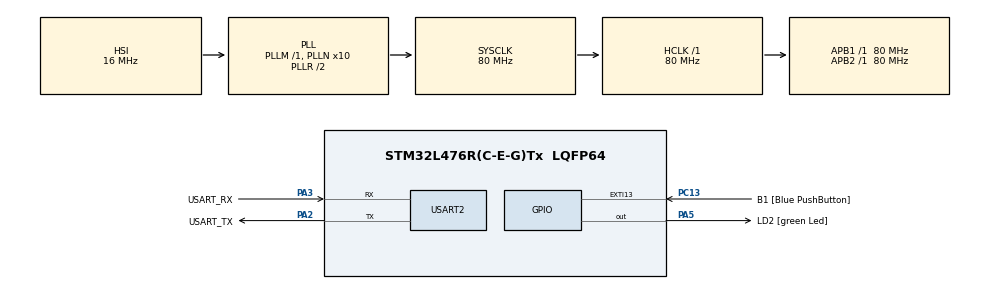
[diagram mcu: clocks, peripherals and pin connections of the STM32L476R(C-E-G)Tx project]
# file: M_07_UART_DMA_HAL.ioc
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Dma.Request0=USART2_TX
Dma.USART2_TX.0.Direction=DMA_MEMORY_TO_PERIPH
Dma.USART2_TX.0.Instance=DMA1_Channel7
Dma.USART2_TX.0.MemDataAlignment=DMA_MDATAALIGN_BYTE
Dma.USART2_TX.0.MemInc=DMA_MINC_ENABLE
Dma.USART2_TX.0.Mode=DMA_NORMAL
Dma.USART2_TX.0.PeriphDataAlignment=DMA_PDATAALIGN_BYTE
Dma.USART2_TX.0.PeriphInc=DMA_PINC_DISABLE
Dma.USART2_TX.0.Priority=DMA_PRIORITY_MEDIUM
Mcu.Family=STM32L4
Mcu.Name=STM32L476R(C-E-G)Tx
Mcu.Package=LQFP64
NVIC.DMA1_Channel7_IRQn=true\:0\:0\:false\:false\:true\:false\:true\:true
NVIC.PriorityGroup=NVIC_PRIORITYGROUP_4
NVIC.USART2_IRQn=true\:0\:0\:false\:false\:true\:true\:true\:true
PA13\ (JTMS-SWDIO).GPIO_Label=TMS
PA13\ (JTMS-SWDIO).Mode=Serial_Wire
PA13\ (JTMS-SWDIO).Signal=SYS_JTMS-SWDIO
PA14\ (JTCK-SWCLK).GPIO_Label=TCK
PA14\ (JTCK-SWCLK).Mode=Serial_Wire
PA14\ (JTCK-SWCLK).Signal=SYS_JTCK-SWCLK
PA2.GPIO_Label=USART_TX
PA2.GPIO_Mode=GPIO_MODE_AF_PP
PA2.GPIO_PuPd=GPIO_NOPULL
PA2.GPIO_Speed=GPIO_SPEED_FREQ_VERY_HIGH
PA2.Mode=Asynchronous
PA2.Signal=USART2_TX
PA3.GPIO_Label=USART_RX
PA3.GPIO_Mode=GPIO_MODE_AF_PP
PA3.GPIO_PuPd=GPIO_NOPULL
PA3.GPIO_Speed=GPIO_SPEED_FREQ_VERY_HIGH
PA3.Mode=Asynchronous
PA3.Signal=USART2_RX
PA5.GPIO_Label=LD2 [green Led]
PA5.GPIO_ModeDefaultOutputPP=GPIO_MODE_OUTPUT_PP
PA5.GPIO_PuPd=GPIO_NOPULL
PA5.GPIO_Speed=GPIO_SPEED_FREQ_LOW
PA5.Signal=GPIO_Output
PB3\ (JTDO-TRACESWO).GPIO_Label=SWO
PB3\ (JTDO-TRACESWO).Signal=SYS_JTDO-SWO
PC13.GPIO_Label=B1 [Blue PushButton]
PC13.GPIO_ModeDefaultEXTI=GPIO_MODE_IT_FALLING
PC13.GPIO_PuPd=GPIO_NOPULL
PC13.Signal=GPXTI13
PC14-OSC32_IN\ (PC14).Mode=LSE-External-Oscillator
PC14-OSC32_IN\ (PC14).Signal=RCC_OSC32_IN
PC15-OSC32_OUT\ (PC15).Mode=LSE-External-Oscillator
PC15-OSC32_OUT\ (PC15).Signal=RCC_OSC32_OUT
PH0-OSC_IN\ (PH0).Signal=RCC_OSC_IN
PH1-OSC_OUT\ (PH1).Signal=RCC_OSC_OUT
ProjectManager.HeapSize=0x200
ProjectManager.StackSize=0x400
ProjectManager.TargetToolchain=STM32CubeIDE
RCC.ADCFreq_Value=64000000
RCC.AHBFreq_Value=80000000
RCC.APB1Freq_Value=80000000
RCC.APB1TimFreq_Value=80000000
RCC.APB2Freq_Value=80000000
RCC.APB2TimFreq_Value=80000000
RCC.CortexFreq_Value=80000000
RCC.HCLKFreq_Value=80000000
RCC.HSE_VALUE=8000000
RCC.HSI_VALUE=16000000
RCC.MSI_VALUE=4000000
RCC.PLLN=10
RCC.PLLSourceVirtual=RCC_PLLSOURCE_HSI
RCC.PREFETCH_ENABLE=1
RCC.SYSCLKFreq_VALUE=80000000
RCC.SYSCLKSource=RCC_SYSCLKSOURCE_PLLCLK
RCC.USBFreq_Value=64000000
RCC.VCOOutputFreq_Value=160000000
USART2.VirtualMode-Asynchronous=VM_ASYNC
board=NUCLEO-L476RG

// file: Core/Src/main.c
/* USER CODE BEGIN Header */
/**
  ******************************************************************************
  * @file           : main.c
  * @brief          : Main program body
  ******************************************************************************
  * @attention
  *
  * Copyright (c) 2023 STMicroelectronics.
  * All rights reserved.
  *
  * This software is licensed under terms that can be found in the LICENSE file
  * in the root directory of this software component.
  * If no LICENSE file comes with this software, it is provided AS-IS.
  *
  ******************************************************************************
  */
/* USER CODE END Header */
#include "main.h"

/* USER CODE BEGIN Includes */
#include <stdio.h>

/* USER CODE END Includes */

UART_HandleTypeDef huart2;
DMA_HandleTypeDef hdma_usart2_tx;

/* USER CODE BEGIN PV */
uint8_t rx_buffer[4];

uint8_t tx_busy = 0;

/* USER CODE END PV */

void SystemClock_Config(void);
static void MX_GPIO_Init(void);
static void MX_DMA_Init(void);
static void MX_USART2_UART_Init(void);

/* USER CODE BEGIN 0 */
int _write(int file, char *ptr, int len)
{
	while (tx_busy != 0) {/* Wait */}
	{
		HAL_UART_Transmit_DMA(&huart2, (uint8_t *)ptr, len);
		tx_busy = 1;
	}

	return len;
}

/* USER CODE END 0 */

int main(void)
{

  /* MCU Configuration--------------------------------------------------------*/

  /* Reset of all peripherals, Initializes the Flash interface and the Systick. */
  HAL_Init();

  /* Configure the system clock */
  SystemClock_Config();

  /* Initialize all configured peripherals */
  MX_GPIO_Init();
  MX_DMA_Init();
  MX_USART2_UART_Init();
  /* USER CODE BEGIN 2 */

  HAL_UART_Receive_IT(&huart2, rx_buffer, 1);

  for (uint8_t idx =0; idx <= 0x0F; idx++)
  {
	  printf("IDX: 0x%02X\r\n", idx);
  }

  /* USER CODE END 2 */

  /* Infinite loop */
  while (1)
  {

  }
}

void SystemClock_Config(void)
{
  RCC_OscInitTypeDef RCC_OscInitStruct = {0};
  RCC_ClkInitTypeDef RCC_ClkInitStruct = {0};

  /** Configure the main internal regulator output voltage
  */
  if (HAL_PWREx_ControlVoltageScaling(PWR_REGULATOR_VOLTAGE_SCALE1) != HAL_OK)
  {
    Error_Handler();
  }

  /** Initializes the RCC Oscillators according to the specified parameters
  * in the RCC_OscInitTypeDef structure.
  */
  RCC_OscInitStruct.OscillatorType = RCC_OSCILLATORTYPE_HSI;
  RCC_OscInitStruct.HSIState = RCC_HSI_ON;
  RCC_OscInitStruct.HSICalibrationValue = RCC_HSICALIBRATION_DEFAULT;
  RCC_OscInitStruct.PLL.PLLState = RCC_PLL_ON;
  RCC_OscInitStruct.PLL.PLLSource = RCC_PLLSOURCE_HSI;
  RCC_OscInitStruct.PLL.PLLM = 1;
  RCC_OscInitStruct.PLL.PLLN = 10;
  RCC_OscInitStruct.PLL.PLLP = RCC_PLLP_DIV7;
  RCC_OscInitStruct.PLL.PLLQ = RCC_PLLQ_DIV2;
  RCC_OscInitStruct.PLL.PLLR = RCC_PLLR_DIV2;
  if (HAL_RCC_OscConfig(&RCC_OscInitStruct) != HAL_OK)
  {
    Error_Handler();
  }

  /** Initializes the CPU, AHB and APB buses clocks
  */
  RCC_ClkInitStruct.ClockType = RCC_CLOCKTYPE_HCLK|RCC_CLOCKTYPE_SYSCLK
                              |RCC_CLOCKTYPE_PCLK1|RCC_CLOCKTYPE_PCLK2;
  RCC_ClkInitStruct.SYSCLKSource = RCC_SYSCLKSOURCE_PLLCLK;
  RCC_ClkInitStruct.AHBCLKDivider = RCC_SYSCLK_DIV1;
  RCC_ClkInitStruct.APB1CLKDivider = RCC_HCLK_DIV1;
  RCC_ClkInitStruct.APB2CLKDivider = RCC_HCLK_DIV1;

  if (HAL_RCC_ClockConfig(&RCC_ClkInitStruct, FLASH_LATENCY_4) != HAL_OK)
  {
    Error_Handler();
  }
}

static void MX_USART2_UART_Init(void)
{

  huart2.Instance = USART2;
  huart2.Init.BaudRate = 115200;
  huart2.Init.WordLength = UART_WORDLENGTH_8B;
  huart2.Init.StopBits = UART_STOPBITS_1;
  huart2.Init.Parity = UART_PARITY_NONE;
  huart2.Init.Mode = UART_MODE_TX_RX;
  huart2.Init.HwFlowCtl = UART_HWCONTROL_NONE;
  huart2.Init.OverSampling = UART_OVERSAMPLING_16;
  huart2.Init.OneBitSampling = UART_ONE_BIT_SAMPLE_DISABLE;
  huart2.AdvancedInit.AdvFeatureInit = UART_ADVFEATURE_NO_INIT;
  if (HAL_UART_Init(&huart2) != HAL_OK)
  {
    Error_Handler();
  }

}

static void MX_DMA_Init(void)
{

  /* DMA controller clock enable */
  __HAL_RCC_DMA1_CLK_ENABLE();

  /* DMA interrupt init */
  /* DMA1_Channel7_IRQn interrupt configuration */
  HAL_NVIC_SetPriority(DMA1_Channel7_IRQn, 0, 0);
  HAL_NVIC_EnableIRQ(DMA1_Channel7_IRQn);

}

static void MX_GPIO_Init(void)
{
  GPIO_InitTypeDef GPIO_InitStruct = {0};

  /* GPIO Ports Clock Enable */
  __HAL_RCC_GPIOC_CLK_ENABLE();
  __HAL_RCC_GPIOH_CLK_ENABLE();
  __HAL_RCC_GPIOA_CLK_ENABLE();
  __HAL_RCC_GPIOB_CLK_ENABLE();

  /*Configure GPIO pin Output Level */
  HAL_GPIO_WritePin(LD2_GPIO_Port, LD2_Pin, GPIO_PIN_RESET);

  /*Configure GPIO pin : B1_Pin */
  GPIO_InitStruct.Pin = B1_Pin;
  GPIO_InitStruct.Mode = GPIO_MODE_IT_FALLING;
  GPIO_InitStruct.Pull = GPIO_NOPULL;
  HAL_GPIO_Init(B1_GPIO_Port, &GPIO_InitStruct);

  /*Configure GPIO pin : LD2_Pin */
  GPIO_InitStruct.Pin = LD2_Pin;
  GPIO_InitStruct.Mode = GPIO_MODE_OUTPUT_PP;
  GPIO_InitStruct.Pull = GPIO_NOPULL;
  GPIO_InitStruct.Speed = GPIO_SPEED_FREQ_LOW;
  HAL_GPIO_Init(LD2_GPIO_Port, &GPIO_InitStruct);

}

/* USER CODE BEGIN 4 */

/*******************************************************CALLBACKS************************************************/

//********** Callback UART Rx*******************************/
void HAL_UART_RxCpltCallback(UART_HandleTypeDef *huart)
{
	printf("Received: [%s]\r\n", rx_buffer);
	HAL_UART_Receive_IT(&huart2, rx_buffer, 1);
}

//********** Callback UART DMA*******************************/
void HAL_UART_TxCpltCallback(UART_HandleTypeDef *huart)
{
	tx_busy = 0;
}

/* USER CODE END 4 */

void Error_Handler(void)
{
  __disable_irq();
  while (1)
  {
  }
}
